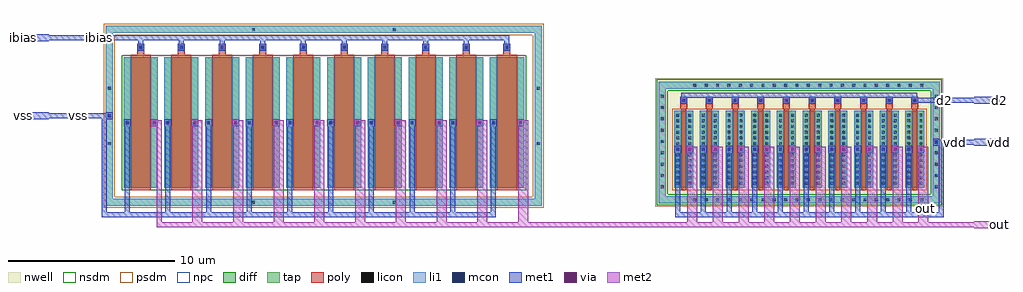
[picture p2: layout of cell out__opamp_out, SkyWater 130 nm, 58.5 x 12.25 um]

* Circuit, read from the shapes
.subckt out__opamp_out d2 ibias out vdd vss
XM1 out ibias vss vss sky130_fd_pr__nfet_01v8 w=7.82 l=1.2 m=10
XM2 out d2 vdd vdd sky130_fd_pr__pfet_01v8 w=4.635 l=0.3 m=10
.ends

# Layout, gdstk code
import gdstk
lib = gdstk.Library(unit=1e-6, precision=1e-09)
def R(c, l, rs):  # rectangles x0, y0, x1, y1
    for r in rs: c.add(gdstk.rectangle(r[:2], r[2:], *l))
def A(c, l, x, y, w, h, nx, ny, dx, dy):  # array of equal rectangles
    R(c, l, [(x+i*dx, y+j*dy, x+i*dx+w, y+j*dy+h) for i in range(nx) for j in range(ny)])
def P(c, l, *ps):  # polygons
    for p in ps: c.add(gdstk.Polygon(p, *l))
nwell = (64, 20)
diff = (65, 20)
tap = (65, 44)
poly = (66, 20)
licon = (66, 44)
li1 = (67, 20)
mcon = (67, 44)
met1 = (68, 20)
via = (68, 44)
met2 = (69, 20)
nsdm = (93, 44)
psdm = (94, 20)
npc = (95, 20)

pin_vdd__stub_metal2_1 = lib.new_cell('pin_vdd__stub_metal2$1')
R(pin_vdd__stub_metal2_1, met1, [(0,0,1.5,0.42)])

pin_d2__stub_metal2 = lib.new_cell('pin_d2__stub_metal2')
R(pin_d2__stub_metal2, met1, [(0,0,1.5,0.42)])

pin_out__stub_metal3 = lib.new_cell('pin_out__stub_metal3')
R(pin_out__stub_metal3, met2, [(0,0,1.5,0.42)])

pin_vss__stub_metal2_1 = lib.new_cell('pin_vss__stub_metal2$1')
R(pin_vss__stub_metal2_1, met1, [(0,0,1.5,0.42)])

pin_ibias__stub_metal2_1 = lib.new_cell('pin_ibias__stub_metal2$1')
R(pin_ibias__stub_metal2_1, met1, [(0,0,1.5,0.42)])

mp6__out_pmos_units = lib.new_cell('mp6__out_pmos_units')
R(mp6__out_pmos_units, nwell, [(-1.12,-1.12,16.12,6.575)])
A(mp6__out_pmos_units, diff, 0, 0, 1.14, 4.635, 10, 1, 1.54, 0)
R(mp6__out_pmos_units, tap, [(-0.92,-0.92,15.92,-0.5), (-0.92,-0.5,-0.5,5.955), (15.5,-0.5,15.92,5.955), (-0.92,5.955,15.92,6.375)])
A(mp6__out_pmos_units, poly, 0.42, -0.15, 0.3, 4.935, 10, 1, 1.54, 0)
A(mp6__out_pmos_units, poly, 0.36, 4.785, 0.42, 0.67, 10, 1, 1.54, 0)
A(mp6__out_pmos_units, licon, 1.155, -0.795, 0.17, 0.17, 21, 2, 0.68, 6.875)
A(mp6__out_pmos_units, licon, -0.795, -0.02, 0.17, 0.17, 1, 9, 0, 0.68)
A(mp6__out_pmos_units, licon, 15.625, -0.02, 0.17, 0.17, 1, 9, 0, 0.68)
A(mp6__out_pmos_units, licon, 0.125, 0.195, 0.17, 0.17, 1, 13, 0, 0.34)
A(mp6__out_pmos_units, licon, 0.845, 0.195, 0.17, 0.17, 1, 13, 0, 0.34)
A(mp6__out_pmos_units, licon, 1.665, 0.195, 0.17, 0.17, 1, 13, 0, 0.34)
A(mp6__out_pmos_units, licon, 2.385, 0.195, 0.17, 0.17, 1, 13, 0, 0.34)
A(mp6__out_pmos_units, licon, 3.205, 0.195, 0.17, 0.17, 1, 13, 0, 0.34)
A(mp6__out_pmos_units, licon, 3.925, 0.195, 0.17, 0.17, 1, 13, 0, 0.34)
A(mp6__out_pmos_units, licon, 4.745, 0.195, 0.17, 0.17, 1, 13, 0, 0.34)
A(mp6__out_pmos_units, licon, 5.465, 0.195, 0.17, 0.17, 1, 13, 0, 0.34)
A(mp6__out_pmos_units, licon, 6.285, 0.195, 0.17, 0.17, 1, 13, 0, 0.34)
A(mp6__out_pmos_units, licon, 7.005, 0.195, 0.17, 0.17, 1, 13, 0, 0.34)
A(mp6__out_pmos_units, licon, 7.825, 0.195, 0.17, 0.17, 1, 13, 0, 0.34)
A(mp6__out_pmos_units, licon, 8.545, 0.195, 0.17, 0.17, 1, 13, 0, 0.34)
A(mp6__out_pmos_units, licon, 9.365, 0.195, 0.17, 0.17, 1, 13, 0, 0.34)
A(mp6__out_pmos_units, licon, 10.085, 0.195, 0.17, 0.17, 1, 13, 0, 0.34)
A(mp6__out_pmos_units, licon, 10.905, 0.195, 0.17, 0.17, 1, 13, 0, 0.34)
A(mp6__out_pmos_units, licon, 11.625, 0.195, 0.17, 0.17, 1, 13, 0, 0.34)
A(mp6__out_pmos_units, licon, 12.445, 0.195, 0.17, 0.17, 1, 13, 0, 0.34)
A(mp6__out_pmos_units, licon, 13.165, 0.195, 0.17, 0.17, 1, 13, 0, 0.34)
A(mp6__out_pmos_units, licon, 13.985, 0.195, 0.17, 0.17, 1, 13, 0, 0.34)
A(mp6__out_pmos_units, licon, 14.705, 0.195, 0.17, 0.17, 1, 13, 0, 0.34)
A(mp6__out_pmos_units, licon, 0.485, 5.16, 0.17, 0.17, 10, 1, 1.54, 0)
A(mp6__out_pmos_units, li1, 0.36, 5.035, 0.42, 0.42, 10, 1, 1.54, 0)
R(mp6__out_pmos_units, li1, [(-0.92,-0.92,15.92,-0.5), (-0.92,-0.5,-0.5,5.955), (15.5,-0.5,15.92,5.955), (0,0,0.42,4.635), (0.72,0,1.14,4.635), (1.54,0,1.96,4.635), (2.26,0,2.68,4.635), (3.08,0,3.5,4.635), (3.8,0,4.22,4.635), (4.62,0,5.04,4.635), (5.34,0,5.76,4.635), (6.16,0,6.58,4.635), (6.88,0,7.3,4.635), (7.7,0,8.12,4.635), (8.42,0,8.84,4.635), (9.24,0,9.66,4.635), (9.96,0,10.38,4.635), (10.78,0,11.2,4.635), (11.5,0,11.92,4.635), (12.32,0,12.74,4.635), (13.04,0,13.46,4.635), (13.86,0,14.28,4.635), (14.58,0,15,4.635), (-0.92,5.955,15.92,6.375)])
R(mp6__out_pmos_units, nsdm, [(-1.045,-1.045,16.045,-0.375), (-1.045,-0.375,-0.375,5.83), (15.375,-0.375,16.045,5.83), (-1.045,5.83,16.045,6.5)])
R(mp6__out_pmos_units, psdm, [(-0.125,-0.125,15.125,4.76)])
A(mp6__out_pmos_units, npc, 0.385, 5.06, 0.37, 0.37, 10, 1, 1.54, 0)

fe_masks__out_fe_masks = lib.new_cell('fe_masks__out_fe_masks')
A(fe_masks__out_fe_masks, poly, 0.42, -0.15, 1.2, 0.15, 10, 2, 2.44, 7.97)
R(fe_masks__out_fe_masks, nsdm, [(-0.125,-0.125,24.125,7.945)])
R(fe_masks__out_fe_masks, psdm, [(-1.195,-1.195,25.195,-0.525), (-1.195,-0.525,-0.525,9.165), (24.525,-0.525,25.195,9.165), (-1.195,9.165,25.195,9.835)])
A(fe_masks__out_fe_masks, npc, 0.835, 8.245, 0.37, 0.37, 10, 1, 2.44, 0)

mos_array_1 = lib.new_cell('mos_array$1')
A(mos_array_1, diff, 0, 0, 2.04, 7.82, 10, 1, 2.44, 0)
P(mos_array_1, tap, [(-1.07,-1.07),(-1.07,9.29),(-0.65,9.29),(-0.65,-0.65),(24.65,-0.65),(24.65,9.29),(-1.07,9.29),(-1.07,9.71),(25.07,9.71),(25.07,-1.07)])
A(mos_array_1, poly, 0.42, 0, 1.2, 7.82, 10, 1, 2.44, 0)
A(mos_array_1, poly, 0.81, 7.82, 0.42, 0.82, 10, 1, 2.44, 0)
A(mos_array_1, licon, 0.935, 8.345, 0.17, 0.17, 10, 1, 2.44, 0)
R(mos_array_1, licon, [(7.7,-0.945,7.87,-0.775), (16.13,-0.945,16.3,-0.775), (-0.945,2.58,-0.775,2.75), (24.775,2.58,24.945,2.75), (0.125,3.825,0.295,3.995), (1.745,3.825,1.915,3.995), (2.565,3.825,2.735,3.995), (4.185,3.825,4.355,3.995), (5.005,3.825,5.175,3.995), (6.625,3.825,6.795,3.995), (7.445,3.825,7.615,3.995), (9.065,3.825,9.235,3.995), (9.885,3.825,10.055,3.995), (11.505,3.825,11.675,3.995), (12.325,3.825,12.495,3.995), (13.945,3.825,14.115,3.995), (14.765,3.825,14.935,3.995), (16.385,3.825,16.555,3.995), (17.205,3.825,17.375,3.995), (18.825,3.825,18.995,3.995), (19.645,3.825,19.815,3.995), (21.265,3.825,21.435,3.995), (22.085,3.825,22.255,3.995), (23.705,3.825,23.875,3.995), (-0.945,5.89,-0.775,6.06), (24.775,5.89,24.945,6.06), (7.7,9.415,7.87,9.585), (16.13,9.415,16.3,9.585)])
A(mos_array_1, li1, 0.81, 8.22, 0.42, 0.42, 10, 1, 2.44, 0)
R(mos_array_1, li1, [(0,0,0.42,7.82), (1.62,0,2.04,7.82), (2.44,0,2.86,7.82), (4.06,0,4.48,7.82), (4.88,0,5.3,7.82), (6.5,0,6.92,7.82), (7.32,0,7.74,7.82), (8.94,0,9.36,7.82), (9.76,0,10.18,7.82), (11.38,0,11.8,7.82), (12.2,0,12.62,7.82), (13.82,0,14.24,7.82), (14.64,0,15.06,7.82), (16.26,0,16.68,7.82), (17.08,0,17.5,7.82), (18.7,0,19.12,7.82), (19.52,0,19.94,7.82), (21.14,0,21.56,7.82), (21.96,0,22.38,7.82), (23.58,0,24,7.82)])
P(mos_array_1, li1, [(-1.07,-1.07),(-1.07,9.29),(-0.65,9.29),(-0.65,-0.65),(24.65,-0.65),(24.65,9.29),(-1.07,9.29),(-1.07,9.71),(25.07,9.71),(25.07,-1.07)])

mn__out_nmos_units = lib.new_cell('mn__out_nmos_units')
mn__out_nmos_units.add(gdstk.Reference(mos_array_1, (0,0)))

out__opamp_out = lib.new_cell('out__opamp_out')
R(out__opamp_out, li1, [(33,2.11,33.42,2.53), (33.72,2.11,34.14,2.53), (33.72,2.11,34.14,2.53), (34.54,2.11,34.96,2.53), (35.26,2.11,35.68,2.53), (35.26,2.11,35.68,2.53), (36.08,2.11,36.5,2.53), (36.8,2.11,37.22,2.53), (36.8,2.11,37.22,2.53), (37.62,2.11,38.04,2.53), (38.34,2.11,38.76,2.53), (38.34,2.11,38.76,2.53), (39.16,2.11,39.58,2.53), (39.88,2.11,40.3,2.53), (39.88,2.11,40.3,2.53), (40.7,2.11,41.12,2.53), (41.42,2.11,41.84,2.53), (41.42,2.11,41.84,2.53), (42.24,2.11,42.66,2.53), (42.96,2.11,43.38,2.53), (42.96,2.11,43.38,2.53), (43.78,2.11,44.2,2.53), (44.5,2.11,44.92,2.53), (44.5,2.11,44.92,2.53), (45.32,2.11,45.74,2.53), (46.04,2.11,46.46,2.53), (46.04,2.11,46.46,2.53), (46.86,2.11,47.28,2.53), (47.58,2.11,48,2.53), (47.58,2.11,48,2.53), (48.5,2.52,48.92,2.94), (48.5,2.52,48.92,2.94), (48.5,2.52,48.92,2.94), (48.5,2.52,48.92,2.94), (48.5,2.52,48.92,2.94), (48.5,2.52,48.92,2.94), (48.5,2.52,48.92,2.94), (48.5,2.52,48.92,2.94), (48.5,2.52,48.92,2.94), (48.5,2.52,48.92,2.94), (48.5,2.52,48.92,2.94), (0,3.7,0.42,4.12), (1.62,3.7,2.04,4.12), (2.44,3.7,2.86,4.12), (4.06,3.7,4.48,4.12), (4.06,3.7,4.48,4.12), (4.88,3.7,5.3,4.12), (6.5,3.7,6.92,4.12), (6.5,3.7,6.92,4.12), (7.32,3.7,7.74,4.12), (8.94,3.7,9.36,4.12), (8.94,3.7,9.36,4.12), (9.76,3.7,10.18,4.12), (11.38,3.7,11.8,4.12), (11.38,3.7,11.8,4.12), (12.2,3.7,12.62,4.12), (13.82,3.7,14.24,4.12), (13.82,3.7,14.24,4.12), (14.64,3.7,15.06,4.12), (16.26,3.7,16.68,4.12), (16.26,3.7,16.68,4.12), (17.08,3.7,17.5,4.12), (18.7,3.7,19.12,4.12), (18.7,3.7,19.12,4.12), (19.52,3.7,19.94,4.12), (21.14,3.7,21.56,4.12), (21.14,3.7,21.56,4.12), (21.96,3.7,22.38,4.12), (23.58,3.7,24,4.12), (23.58,3.7,24,4.12), (-1.07,4.11,-0.65,4.53), (-1.07,4.11,-0.65,4.53), (-1.07,4.11,-0.65,4.53), (-1.07,4.11,-0.65,4.53), (-1.07,4.11,-0.65,4.53), (-1.07,4.11,-0.65,4.53), (-1.07,4.11,-0.65,4.53), (-1.07,4.11,-0.65,4.53), (-1.07,4.11,-0.65,4.53), (-1.07,4.11,-0.65,4.53), (-1.07,4.11,-0.65,4.53), (33.36,5.035,33.78,5.455), (34.9,5.035,35.32,5.455), (34.9,5.035,35.32,5.455), (36.44,5.035,36.86,5.455), (36.44,5.035,36.86,5.455), (37.98,5.035,38.4,5.455), (37.98,5.035,38.4,5.455), (39.52,5.035,39.94,5.455), (39.52,5.035,39.94,5.455), (41.06,5.035,41.48,5.455), (41.06,5.035,41.48,5.455), (42.6,5.035,43.02,5.455), (42.6,5.035,43.02,5.455), (44.14,5.035,44.56,5.455), (44.14,5.035,44.56,5.455), (45.68,5.035,46.1,5.455), (45.68,5.035,46.1,5.455), (47.22,5.035,47.64,5.455), (47.22,5.035,47.64,5.455), (0.81,8.22,1.23,8.64), (0.81,8.22,1.23,8.64), (3.25,8.22,3.67,8.64), (3.25,8.22,3.67,8.64), (5.69,8.22,6.11,8.64), (5.69,8.22,6.11,8.64), (8.13,8.22,8.55,8.64), (8.13,8.22,8.55,8.64), (10.57,8.22,10.99,8.64), (10.57,8.22,10.99,8.64), (13.01,8.22,13.43,8.64), (13.01,8.22,13.43,8.64), (15.45,8.22,15.87,8.64), (15.45,8.22,15.87,8.64), (17.89,8.22,18.31,8.64), (17.89,8.22,18.31,8.64), (20.33,8.22,20.75,8.64), (20.33,8.22,20.75,8.64), (22.77,8.22,23.19,8.64)])
R(out__opamp_out, mcon, [(33.125,2.235,33.295,2.405), (33.845,2.235,34.015,2.405), (33.845,2.235,34.015,2.405), (34.665,2.235,34.835,2.405), (35.385,2.235,35.555,2.405), (35.385,2.235,35.555,2.405), (36.205,2.235,36.375,2.405), (36.925,2.235,37.095,2.405), (36.925,2.235,37.095,2.405), (37.745,2.235,37.915,2.405), (38.465,2.235,38.635,2.405), (38.465,2.235,38.635,2.405), (39.285,2.235,39.455,2.405), (40.005,2.235,40.175,2.405), (40.005,2.235,40.175,2.405), (40.825,2.235,40.995,2.405), (41.545,2.235,41.715,2.405), (41.545,2.235,41.715,2.405), (42.365,2.235,42.535,2.405), (43.085,2.235,43.255,2.405), (43.085,2.235,43.255,2.405), (43.905,2.235,44.075,2.405), (44.625,2.235,44.795,2.405), (44.625,2.235,44.795,2.405), (45.445,2.235,45.615,2.405), (46.165,2.235,46.335,2.405), (46.165,2.235,46.335,2.405), (46.985,2.235,47.155,2.405), (47.705,2.235,47.875,2.405), (47.705,2.235,47.875,2.405), (48.625,2.645,48.795,2.815), (48.625,2.645,48.795,2.815), (48.625,2.645,48.795,2.815), (48.625,2.645,48.795,2.815), (48.625,2.645,48.795,2.815), (48.625,2.645,48.795,2.815), (48.625,2.645,48.795,2.815), (48.625,2.645,48.795,2.815), (48.625,2.645,48.795,2.815), (48.625,2.645,48.795,2.815), (48.625,2.645,48.795,2.815), (0.125,3.825,0.295,3.995), (1.745,3.825,1.915,3.995), (2.565,3.825,2.735,3.995), (4.185,3.825,4.355,3.995), (4.185,3.825,4.355,3.995), (5.005,3.825,5.175,3.995), (6.625,3.825,6.795,3.995), (6.625,3.825,6.795,3.995), (7.445,3.825,7.615,3.995), (9.065,3.825,9.235,3.995), (9.065,3.825,9.235,3.995), (9.885,3.825,10.055,3.995), (11.505,3.825,11.675,3.995), (11.505,3.825,11.675,3.995), (12.325,3.825,12.495,3.995), (13.945,3.825,14.115,3.995), (13.945,3.825,14.115,3.995), (14.765,3.825,14.935,3.995), (16.385,3.825,16.555,3.995), (16.385,3.825,16.555,3.995), (17.205,3.825,17.375,3.995), (18.825,3.825,18.995,3.995), (18.825,3.825,18.995,3.995), (19.645,3.825,19.815,3.995), (21.265,3.825,21.435,3.995), (21.265,3.825,21.435,3.995), (22.085,3.825,22.255,3.995), (23.705,3.825,23.875,3.995), (23.705,3.825,23.875,3.995), (-0.945,4.235,-0.775,4.405), (-0.945,4.235,-0.775,4.405), (-0.945,4.235,-0.775,4.405), (-0.945,4.235,-0.775,4.405), (-0.945,4.235,-0.775,4.405), (-0.945,4.235,-0.775,4.405), (-0.945,4.235,-0.775,4.405), (-0.945,4.235,-0.775,4.405), (-0.945,4.235,-0.775,4.405), (-0.945,4.235,-0.775,4.405), (-0.945,4.235,-0.775,4.405), (33.485,5.16,33.655,5.33), (35.025,5.16,35.195,5.33), (35.025,5.16,35.195,5.33), (36.565,5.16,36.735,5.33), (36.565,5.16,36.735,5.33), (38.105,5.16,38.275,5.33), (38.105,5.16,38.275,5.33), (39.645,5.16,39.815,5.33), (39.645,5.16,39.815,5.33), (41.185,5.16,41.355,5.33), (41.185,5.16,41.355,5.33), (42.725,5.16,42.895,5.33), (42.725,5.16,42.895,5.33), (44.265,5.16,44.435,5.33), (44.265,5.16,44.435,5.33), (45.805,5.16,45.975,5.33), (45.805,5.16,45.975,5.33), (47.345,5.16,47.515,5.33), (47.345,5.16,47.515,5.33), (0.935,8.345,1.105,8.515), (0.935,8.345,1.105,8.515), (3.375,8.345,3.545,8.515), (3.375,8.345,3.545,8.515), (5.815,8.345,5.985,8.515), (5.815,8.345,5.985,8.515), (8.255,8.345,8.425,8.515), (8.255,8.345,8.425,8.515), (10.695,8.345,10.865,8.515), (10.695,8.345,10.865,8.515), (13.135,8.345,13.305,8.515), (13.135,8.345,13.305,8.515), (15.575,8.345,15.745,8.515), (15.575,8.345,15.745,8.515), (18.015,8.345,18.185,8.515), (18.015,8.345,18.185,8.515), (20.455,8.345,20.625,8.515), (20.455,8.345,20.625,8.515), (22.895,8.345,23.065,8.515)])
R(out__opamp_out, met1, [(33,2.11,33.42,2.53), (33.72,2.11,34.14,2.53), (33.72,2.11,34.14,2.53), (33.72,2.11,34.14,2.53), (33.72,2.11,34.14,2.53), (34.54,2.11,34.96,2.53), (35.26,2.11,35.68,2.53), (35.26,2.11,35.68,2.53), (35.26,2.11,35.68,2.53), (35.26,2.11,35.68,2.53), (36.08,2.11,36.5,2.53), (36.8,2.11,37.22,2.53), (36.8,2.11,37.22,2.53), (36.8,2.11,37.22,2.53), (36.8,2.11,37.22,2.53), (37.62,2.11,38.04,2.53), (38.34,2.11,38.76,2.53), (38.34,2.11,38.76,2.53), (38.34,2.11,38.76,2.53), (38.34,2.11,38.76,2.53), (39.16,2.11,39.58,2.53), (39.88,2.11,40.3,2.53), (39.88,2.11,40.3,2.53), (39.88,2.11,40.3,2.53), (39.88,2.11,40.3,2.53), (40.7,2.11,41.12,2.53), (41.42,2.11,41.84,2.53), (41.42,2.11,41.84,2.53), (41.42,2.11,41.84,2.53), (41.42,2.11,41.84,2.53), (42.24,2.11,42.66,2.53), (42.96,2.11,43.38,2.53), (42.96,2.11,43.38,2.53), (42.96,2.11,43.38,2.53), (42.96,2.11,43.38,2.53), (43.78,2.11,44.2,2.53), (44.5,2.11,44.92,2.53), (44.5,2.11,44.92,2.53), (44.5,2.11,44.92,2.53), (44.5,2.11,44.92,2.53), (45.32,2.11,45.74,2.53), (46.04,2.11,46.46,2.53), (46.04,2.11,46.46,2.53), (46.04,2.11,46.46,2.53), (46.04,2.11,46.46,2.53), (46.86,2.11,47.28,2.53), (47.58,2.11,48,2.53), (47.58,2.11,48,2.53), (47.58,2.11,48,2.53), (47.58,2.11,48,2.53), (48.5,2.52,48.92,2.94), (48.5,2.52,48.92,2.94), (48.5,2.52,48.92,2.94), (48.5,2.52,48.92,2.94), (48.5,2.52,48.92,2.94), (48.5,2.52,48.92,2.94), (48.5,2.52,48.92,2.94), (48.5,2.52,48.92,2.94), (48.5,2.52,48.92,2.94), (48.5,2.52,48.92,2.94), (48.5,2.52,48.92,2.94), (0,3.7,0.42,4.12), (1.62,3.7,2.04,4.12), (1.62,3.7,2.04,4.12), (2.44,3.7,2.86,4.12), (4.06,3.7,4.48,4.12), (4.06,3.7,4.48,4.12), (4.06,3.7,4.48,4.12), (4.06,3.7,4.48,4.12), (4.88,3.7,5.3,4.12), (6.5,3.7,6.92,4.12), (6.5,3.7,6.92,4.12), (6.5,3.7,6.92,4.12), (6.5,3.7,6.92,4.12), (7.32,3.7,7.74,4.12), (8.94,3.7,9.36,4.12), (8.94,3.7,9.36,4.12), (8.94,3.7,9.36,4.12), (8.94,3.7,9.36,4.12), (9.76,3.7,10.18,4.12), (11.38,3.7,11.8,4.12), (11.38,3.7,11.8,4.12), (11.38,3.7,11.8,4.12), (11.38,3.7,11.8,4.12), (12.2,3.7,12.62,4.12), (13.82,3.7,14.24,4.12), (13.82,3.7,14.24,4.12), (13.82,3.7,14.24,4.12), (13.82,3.7,14.24,4.12), (14.64,3.7,15.06,4.12), (16.26,3.7,16.68,4.12), (16.26,3.7,16.68,4.12), (16.26,3.7,16.68,4.12), (16.26,3.7,16.68,4.12), (17.08,3.7,17.5,4.12), (18.7,3.7,19.12,4.12), (18.7,3.7,19.12,4.12), (18.7,3.7,19.12,4.12), (18.7,3.7,19.12,4.12), (19.52,3.7,19.94,4.12), (21.14,3.7,21.56,4.12), (21.14,3.7,21.56,4.12), (21.14,3.7,21.56,4.12), (21.14,3.7,21.56,4.12), (21.96,3.7,22.38,4.12), (23.58,3.7,24,4.12), (23.58,3.7,24,4.12), (23.58,3.7,24,4.12), (23.58,3.7,24,4.12), (-1.07,4.11,-0.65,4.53), (-1.07,4.11,-0.65,4.53), (-1.07,4.11,-0.65,4.53), (-1.07,4.11,-0.65,4.53), (-1.07,4.11,-0.65,4.53), (-1.07,4.11,-0.65,4.53), (-1.07,4.11,-0.65,4.53), (-1.07,4.11,-0.65,4.53), (-1.07,4.11,-0.65,4.53), (-1.07,4.11,-0.65,4.53), (-1.07,4.11,-0.65,4.53), (33.36,5.035,33.78,5.455), (34.9,5.035,35.32,5.455), (34.9,5.035,35.32,5.455), (36.44,5.035,36.86,5.455), (36.44,5.035,36.86,5.455), (37.98,5.035,38.4,5.455), (37.98,5.035,38.4,5.455), (39.52,5.035,39.94,5.455), (39.52,5.035,39.94,5.455), (41.06,5.035,41.48,5.455), (41.06,5.035,41.48,5.455), (42.6,5.035,43.02,5.455), (42.6,5.035,43.02,5.455), (44.14,5.035,44.56,5.455), (44.14,5.035,44.56,5.455), (45.68,5.035,46.1,5.455), (45.68,5.035,46.1,5.455), (47.22,5.035,47.64,5.455), (47.22,5.035,47.64,5.455), (0.81,8.22,1.23,8.64), (0.81,8.22,1.23,8.64), (3.25,8.22,3.67,8.64), (3.25,8.22,3.67,8.64), (5.69,8.22,6.11,8.64), (5.69,8.22,6.11,8.64), (8.13,8.22,8.55,8.64), (8.13,8.22,8.55,8.64), (10.57,8.22,10.99,8.64), (10.57,8.22,10.99,8.64), (13.01,8.22,13.43,8.64), (13.01,8.22,13.43,8.64), (15.45,8.22,15.87,8.64), (15.45,8.22,15.87,8.64), (17.89,8.22,18.31,8.64), (17.89,8.22,18.31,8.64), (20.33,8.22,20.75,8.64), (20.33,8.22,20.75,8.64), (22.77,8.22,23.19,8.64)])
R(out__opamp_out, via, [(33.855,2.245,34.005,2.395), (33.855,2.245,34.005,2.395), (35.395,2.245,35.545,2.395), (35.395,2.245,35.545,2.395), (36.935,2.245,37.085,2.395), (36.935,2.245,37.085,2.395), (38.475,2.245,38.625,2.395), (38.475,2.245,38.625,2.395), (40.015,2.245,40.165,2.395), (40.015,2.245,40.165,2.395), (41.555,2.245,41.705,2.395), (41.555,2.245,41.705,2.395), (43.095,2.245,43.245,2.395), (43.095,2.245,43.245,2.395), (44.635,2.245,44.785,2.395), (44.635,2.245,44.785,2.395), (46.175,2.245,46.325,2.395), (46.175,2.245,46.325,2.395), (47.715,2.245,47.865,2.395), (47.715,2.245,47.865,2.395), (1.755,3.835,1.905,3.985), (4.195,3.835,4.345,3.985), (4.195,3.835,4.345,3.985), (6.635,3.835,6.785,3.985), (6.635,3.835,6.785,3.985), (9.075,3.835,9.225,3.985), (9.075,3.835,9.225,3.985), (11.515,3.835,11.665,3.985), (11.515,3.835,11.665,3.985), (13.955,3.835,14.105,3.985), (13.955,3.835,14.105,3.985), (16.395,3.835,16.545,3.985), (16.395,3.835,16.545,3.985), (18.835,3.835,18.985,3.985), (18.835,3.835,18.985,3.985), (21.275,3.835,21.425,3.985), (21.275,3.835,21.425,3.985), (23.715,3.835,23.865,3.985), (23.715,3.835,23.865,3.985)])
R(out__opamp_out, met2, [(33.72,2.11,34.14,2.53), (33.72,2.11,34.14,2.53), (35.26,2.11,35.68,2.53), (35.26,2.11,35.68,2.53), (36.8,2.11,37.22,2.53), (36.8,2.11,37.22,2.53), (38.34,2.11,38.76,2.53), (38.34,2.11,38.76,2.53), (39.88,2.11,40.3,2.53), (39.88,2.11,40.3,2.53), (41.42,2.11,41.84,2.53), (41.42,2.11,41.84,2.53), (42.96,2.11,43.38,2.53), (42.96,2.11,43.38,2.53), (44.5,2.11,44.92,2.53), (44.5,2.11,44.92,2.53), (46.04,2.11,46.46,2.53), (46.04,2.11,46.46,2.53), (47.58,2.11,48,2.53), (47.58,2.11,48,2.53), (1.62,3.7,2.04,4.12), (4.06,3.7,4.48,4.12), (4.06,3.7,4.48,4.12), (6.5,3.7,6.92,4.12), (6.5,3.7,6.92,4.12), (8.94,3.7,9.36,4.12), (8.94,3.7,9.36,4.12), (11.38,3.7,11.8,4.12), (11.38,3.7,11.8,4.12), (13.82,3.7,14.24,4.12), (13.82,3.7,14.24,4.12), (16.26,3.7,16.68,4.12), (16.26,3.7,16.68,4.12), (18.7,3.7,19.12,4.12), (18.7,3.7,19.12,4.12), (21.14,3.7,21.56,4.12), (21.14,3.7,21.56,4.12), (23.58,3.7,24,4.12), (23.58,3.7,24,4.12)])
out__opamp_out.add(gdstk.FlexPath([(51,-2.2),(48.09,-2.2),(48.09,2.32),(47.79,2.32)], 0.3, ends="flush", simple_path=True, layer=69, datatype=20))  # met2
out__opamp_out.add(gdstk.FlexPath([(35.47,2.32),(35.47,-2.2),(34.23,-2.2),(34.23,2.32),(33.93,2.32)], 0.3, ends="flush", simple_path=True, layer=69, datatype=20))  # met2
out__opamp_out.add(gdstk.FlexPath([(37.01,2.32),(37.01,-2.2),(35.77,-2.2),(35.77,2.32),(35.47,2.32)], 0.3, ends="flush", simple_path=True, layer=69, datatype=20))  # met2
out__opamp_out.add(gdstk.FlexPath([(38.55,2.32),(38.55,-2.2),(37.31,-2.2),(37.31,2.32),(37.01,2.32)], 0.3, ends="flush", simple_path=True, layer=69, datatype=20))  # met2
out__opamp_out.add(gdstk.FlexPath([(40.09,2.32),(40.09,-2.2),(38.85,-2.2),(38.85,2.32),(38.55,2.32)], 0.3, ends="flush", simple_path=True, layer=69, datatype=20))  # met2
out__opamp_out.add(gdstk.FlexPath([(41.63,2.32),(41.63,-2.2),(40.39,-2.2),(40.39,2.32),(40.09,2.32)], 0.3, ends="flush", simple_path=True, layer=69, datatype=20))  # met2
out__opamp_out.add(gdstk.FlexPath([(43.17,2.32),(43.17,-2.2),(41.93,-2.2),(41.93,2.32),(41.63,2.32)], 0.3, ends="flush", simple_path=True, layer=69, datatype=20))  # met2
out__opamp_out.add(gdstk.FlexPath([(44.71,2.32),(44.71,-2.2),(43.47,-2.2),(43.47,2.32),(43.17,2.32)], 0.3, ends="flush", simple_path=True, layer=69, datatype=20))  # met2
out__opamp_out.add(gdstk.FlexPath([(46.25,2.32),(46.25,-2.2),(45.01,-2.2),(45.01,2.32),(44.71,2.32)], 0.3, ends="flush", simple_path=True, layer=69, datatype=20))  # met2
out__opamp_out.add(gdstk.FlexPath([(47.79,2.32),(47.79,-2.2),(46.55,-2.2),(46.55,2.32),(46.25,2.32)], 0.3, ends="flush", simple_path=True, layer=69, datatype=20))  # met2
out__opamp_out.add(gdstk.FlexPath([(33.93,2.32),(33.93,-2.2),(24.09,-2.2),(24.09,3.91),(23.79,3.91)], 0.3, ends="flush", simple_path=True, layer=69, datatype=20))  # met2
out__opamp_out.add(gdstk.FlexPath([(23.79,3.91),(23.79,-2.2),(21.65,-2.2),(21.65,3.91),(21.35,3.91)], 0.3, ends="flush", simple_path=True, layer=69, datatype=20))  # met2
out__opamp_out.add(gdstk.FlexPath([(21.35,3.91),(21.35,-2.2),(19.21,-2.2),(19.21,3.91),(18.91,3.91)], 0.3, ends="flush", simple_path=True, layer=69, datatype=20))  # met2
out__opamp_out.add(gdstk.FlexPath([(18.91,3.91),(18.91,-2.2),(16.77,-2.2),(16.77,3.91),(16.47,3.91)], 0.3, ends="flush", simple_path=True, layer=69, datatype=20))  # met2
out__opamp_out.add(gdstk.FlexPath([(16.47,3.91),(16.47,-2.2),(14.33,-2.2),(14.33,3.91),(14.03,3.91)], 0.3, ends="flush", simple_path=True, layer=69, datatype=20))  # met2
out__opamp_out.add(gdstk.FlexPath([(14.03,3.91),(14.03,-2.2),(11.89,-2.2),(11.89,3.91),(11.59,3.91)], 0.3, ends="flush", simple_path=True, layer=69, datatype=20))  # met2
out__opamp_out.add(gdstk.FlexPath([(11.59,3.91),(11.59,-2.2),(9.45,-2.2),(9.45,3.91),(9.15,3.91)], 0.3, ends="flush", simple_path=True, layer=69, datatype=20))  # met2
out__opamp_out.add(gdstk.FlexPath([(9.15,3.91),(9.15,-2.2),(7.01,-2.2),(7.01,3.91),(6.71,3.91)], 0.3, ends="flush", simple_path=True, layer=69, datatype=20))  # met2
out__opamp_out.add(gdstk.FlexPath([(6.71,3.91),(6.71,-2.2),(4.57,-2.2),(4.57,3.91),(4.27,3.91)], 0.3, ends="flush", simple_path=True, layer=69, datatype=20))  # met2
out__opamp_out.add(gdstk.FlexPath([(4.27,3.91),(4.27,-2.2),(2.13,-2.2),(2.13,3.91),(1.83,3.91)], 0.3, ends="flush", simple_path=True, layer=69, datatype=20))  # met2
out__opamp_out.add(gdstk.FlexPath([(-4.5,9),(1.02,9),(1.02,8.43)], 0.3, ends="flush", simple_path=True, layer=68, datatype=20))  # met1
out__opamp_out.add(gdstk.FlexPath([(1.02,8.43),(1.02,9),(3.46,9),(3.46,8.43)], 0.3, ends="flush", simple_path=True, layer=68, datatype=20))  # met1
out__opamp_out.add(gdstk.FlexPath([(3.46,8.43),(3.46,9),(5.9,9),(5.9,8.43)], 0.3, ends="flush", simple_path=True, layer=68, datatype=20))  # met1
out__opamp_out.add(gdstk.FlexPath([(5.9,8.43),(5.9,9),(8.34,9),(8.34,8.43)], 0.3, ends="flush", simple_path=True, layer=68, datatype=20))  # met1
out__opamp_out.add(gdstk.FlexPath([(8.34,8.43),(8.34,9),(10.78,9),(10.78,8.43)], 0.3, ends="flush", simple_path=True, layer=68, datatype=20))  # met1
out__opamp_out.add(gdstk.FlexPath([(10.78,8.43),(10.78,9),(13.22,9),(13.22,8.43)], 0.3, ends="flush", simple_path=True, layer=68, datatype=20))  # met1
out__opamp_out.add(gdstk.FlexPath([(13.22,8.43),(13.22,9),(15.66,9),(15.66,8.43)], 0.3, ends="flush", simple_path=True, layer=68, datatype=20))  # met1
out__opamp_out.add(gdstk.FlexPath([(15.66,8.43),(15.66,9),(18.1,9),(18.1,8.43)], 0.3, ends="flush", simple_path=True, layer=68, datatype=20))  # met1
out__opamp_out.add(gdstk.FlexPath([(18.1,8.43),(18.1,9),(20.54,9),(20.54,8.43)], 0.3, ends="flush", simple_path=True, layer=68, datatype=20))  # met1
out__opamp_out.add(gdstk.FlexPath([(20.54,8.43),(20.54,9),(22.98,9),(22.98,8.43)], 0.3, ends="flush", simple_path=True, layer=68, datatype=20))  # met1
out__opamp_out.add(gdstk.FlexPath([(51,5.245),(47.43,5.245),(47.43,5.245)], 0.3, ends="flush", simple_path=True, layer=68, datatype=20))  # met1
out__opamp_out.add(gdstk.FlexPath([(47.43,5.245),(47.43,5.545),(45.89,5.545),(45.89,5.245)], 0.3, ends="flush", simple_path=True, layer=68, datatype=20))  # met1
out__opamp_out.add(gdstk.FlexPath([(45.89,5.245),(45.89,5.545),(44.35,5.545),(44.35,5.245)], 0.3, ends="flush", simple_path=True, layer=68, datatype=20))  # met1
out__opamp_out.add(gdstk.FlexPath([(44.35,5.245),(44.35,5.545),(42.81,5.545),(42.81,5.245)], 0.3, ends="flush", simple_path=True, layer=68, datatype=20))  # met1
out__opamp_out.add(gdstk.FlexPath([(42.81,5.245),(42.81,5.545),(41.27,5.545),(41.27,5.245)], 0.3, ends="flush", simple_path=True, layer=68, datatype=20))  # met1
out__opamp_out.add(gdstk.FlexPath([(41.27,5.245),(41.27,5.545),(39.73,5.545),(39.73,5.245)], 0.3, ends="flush", simple_path=True, layer=68, datatype=20))  # met1
out__opamp_out.add(gdstk.FlexPath([(39.73,5.245),(39.73,5.545),(38.19,5.545),(38.19,5.245)], 0.3, ends="flush", simple_path=True, layer=68, datatype=20))  # met1
out__opamp_out.add(gdstk.FlexPath([(38.19,5.245),(38.19,5.545),(36.65,5.545),(36.65,5.245)], 0.3, ends="flush", simple_path=True, layer=68, datatype=20))  # met1
out__opamp_out.add(gdstk.FlexPath([(36.65,5.245),(36.65,5.545),(35.11,5.545),(35.11,5.245)], 0.3, ends="flush", simple_path=True, layer=68, datatype=20))  # met1
out__opamp_out.add(gdstk.FlexPath([(35.11,5.245),(35.11,5.545),(33.57,5.545),(33.57,5.245)], 0.3, ends="flush", simple_path=True, layer=68, datatype=20))  # met1
out__opamp_out.add(gdstk.FlexPath([(-4.5,4.32),(-0.86,4.32)], 0.3, ends="flush", simple_path=True, layer=68, datatype=20))  # met1
out__opamp_out.add(gdstk.FlexPath([(0.21,3.91),(0.21,-1.6),(-1.16,-1.6),(-1.16,4.32),(-0.86,4.32)], 0.3, ends="flush", simple_path=True, layer=68, datatype=20))  # met1
out__opamp_out.add(gdstk.FlexPath([(2.65,3.91),(2.65,-1.6),(-1.16,-1.6),(-1.16,4.32),(-0.86,4.32)], 0.3, ends="flush", simple_path=True, layer=68, datatype=20))  # met1
out__opamp_out.add(gdstk.FlexPath([(5.09,3.91),(5.09,-1.6),(-1.16,-1.6),(-1.16,4.32),(-0.86,4.32)], 0.3, ends="flush", simple_path=True, layer=68, datatype=20))  # met1
out__opamp_out.add(gdstk.FlexPath([(7.53,3.91),(7.53,-1.6),(-1.16,-1.6),(-1.16,4.32),(-0.86,4.32)], 0.3, ends="flush", simple_path=True, layer=68, datatype=20))  # met1
out__opamp_out.add(gdstk.FlexPath([(9.97,3.91),(9.97,-1.6),(-1.16,-1.6),(-1.16,4.32),(-0.86,4.32)], 0.3, ends="flush", simple_path=True, layer=68, datatype=20))  # met1
out__opamp_out.add(gdstk.FlexPath([(12.41,3.91),(12.41,-1.6),(-1.16,-1.6),(-1.16,4.32),(-0.86,4.32)], 0.3, ends="flush", simple_path=True, layer=68, datatype=20))  # met1
out__opamp_out.add(gdstk.FlexPath([(14.85,3.91),(14.85,-1.6),(-1.16,-1.6),(-1.16,4.32),(-0.86,4.32)], 0.3, ends="flush", simple_path=True, layer=68, datatype=20))  # met1
out__opamp_out.add(gdstk.FlexPath([(17.29,3.91),(17.29,-1.6),(-1.16,-1.6),(-1.16,4.32),(-0.86,4.32)], 0.3, ends="flush", simple_path=True, layer=68, datatype=20))  # met1
out__opamp_out.add(gdstk.FlexPath([(19.73,3.91),(19.73,-1.6),(-1.16,-1.6),(-1.16,4.32),(-0.86,4.32)], 0.3, ends="flush", simple_path=True, layer=68, datatype=20))  # met1
out__opamp_out.add(gdstk.FlexPath([(22.17,3.91),(22.17,-1.6),(-1.16,-1.6),(-1.16,4.32),(-0.86,4.32)], 0.3, ends="flush", simple_path=True, layer=68, datatype=20))  # met1
out__opamp_out.add(gdstk.FlexPath([(51,2.73),(48.71,2.73)], 0.3, ends="flush", simple_path=True, layer=68, datatype=20))  # met1
out__opamp_out.add(gdstk.FlexPath([(33.21,2.32),(33.21,-1.6),(49.01,-1.6),(49.01,2.73),(48.71,2.73)], 0.3, ends="flush", simple_path=True, layer=68, datatype=20))  # met1
out__opamp_out.add(gdstk.FlexPath([(34.75,2.32),(34.75,-1.6),(49.01,-1.6),(49.01,2.73),(48.71,2.73)], 0.3, ends="flush", simple_path=True, layer=68, datatype=20))  # met1
out__opamp_out.add(gdstk.FlexPath([(36.29,2.32),(36.29,-1.6),(49.01,-1.6),(49.01,2.73),(48.71,2.73)], 0.3, ends="flush", simple_path=True, layer=68, datatype=20))  # met1
out__opamp_out.add(gdstk.FlexPath([(37.83,2.32),(37.83,-1.6),(49.01,-1.6),(49.01,2.73),(48.71,2.73)], 0.3, ends="flush", simple_path=True, layer=68, datatype=20))  # met1
out__opamp_out.add(gdstk.FlexPath([(39.37,2.32),(39.37,-1.6),(49.01,-1.6),(49.01,2.73),(48.71,2.73)], 0.3, ends="flush", simple_path=True, layer=68, datatype=20))  # met1
out__opamp_out.add(gdstk.FlexPath([(40.91,2.32),(40.91,-1.6),(49.01,-1.6),(49.01,2.73),(48.71,2.73)], 0.3, ends="flush", simple_path=True, layer=68, datatype=20))  # met1
out__opamp_out.add(gdstk.FlexPath([(42.45,2.32),(42.45,-1.6),(49.01,-1.6),(49.01,2.73),(48.71,2.73)], 0.3, ends="flush", simple_path=True, layer=68, datatype=20))  # met1
out__opamp_out.add(gdstk.FlexPath([(43.99,2.32),(43.99,-1.6),(49.01,-1.6),(49.01,2.73),(48.71,2.73)], 0.3, ends="flush", simple_path=True, layer=68, datatype=20))  # met1
out__opamp_out.add(gdstk.FlexPath([(45.53,2.32),(45.53,-1.6),(49.01,-1.6),(49.01,2.73),(48.71,2.73)], 0.3, ends="flush", simple_path=True, layer=68, datatype=20))  # met1
out__opamp_out.add(gdstk.FlexPath([(47.07,2.32),(47.07,-1.6),(49.01,-1.6),(49.01,2.73),(48.71,2.73)], 0.3, ends="flush", simple_path=True, layer=68, datatype=20))  # met1
out__opamp_out.add(gdstk.Reference(pin_vdd__stub_metal2_1, (51,2.52)))
out__opamp_out.add(gdstk.Reference(pin_d2__stub_metal2, (51,5.035)))
out__opamp_out.add(gdstk.Reference(pin_out__stub_metal3, (51,-2.41)))
out__opamp_out.add(gdstk.Reference(pin_vss__stub_metal2_1, (-6,4.11)))
out__opamp_out.add(gdstk.Reference(pin_ibias__stub_metal2_1, (-6,8.79)))
out__opamp_out.add(gdstk.Reference(mp6__out_pmos_units, (33,0)))
out__opamp_out.add(gdstk.Reference(fe_masks__out_fe_masks, (0,0)))
out__opamp_out.add(gdstk.Reference(mn__out_nmos_units, (0,0)))
out__opamp_out.add(gdstk.Label('ibias', (-1.455,9), layer=68, texttype=5))
out__opamp_out.add(gdstk.Label('d2', (49.215,5.245), layer=68, texttype=5))
out__opamp_out.add(gdstk.Label('vss', (-2.68,4.32), layer=68, texttype=5))
out__opamp_out.add(gdstk.Label('vdd', (49.855,2.73), layer=68, texttype=5))
out__opamp_out.add(gdstk.Label('ibias', (-6,9), layer=68, texttype=5))
out__opamp_out.add(gdstk.Label('vss', (-6,4.32), layer=68, texttype=5))
out__opamp_out.add(gdstk.Label('d2', (52.5,5.245), layer=68, texttype=5))
out__opamp_out.add(gdstk.Label('vdd', (52.5,2.73), layer=68, texttype=5))
out__opamp_out.add(gdstk.Label('out', (48.09,-1.245), layer=69, texttype=5))
out__opamp_out.add(gdstk.Label('out', (52.5,-2.2), layer=69, texttype=5))

lib.write_gds('out__opamp_out.gds')
